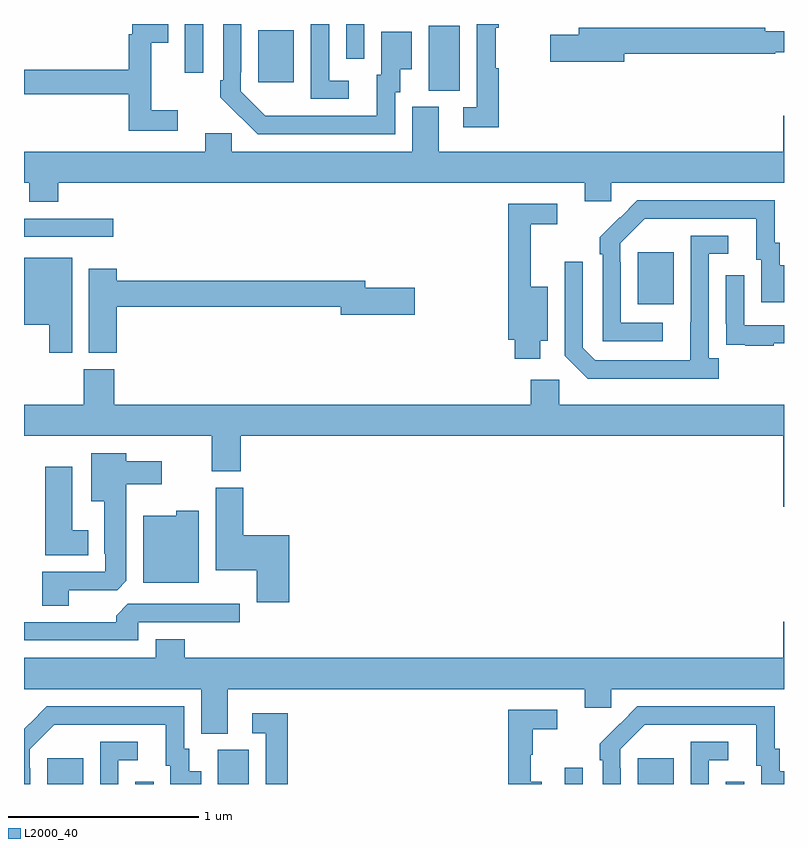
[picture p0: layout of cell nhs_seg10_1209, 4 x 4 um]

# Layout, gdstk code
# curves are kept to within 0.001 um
import gdstk
lib = gdstk.Library(unit=1e-6, precision=1e-09)
def R(c, l, rs):  # rectangles x0, y0, x1, y1
    for r in rs: c.add(gdstk.rectangle(r[:2], r[2:], *l))
def P(c, l, *ps):  # polygons
    for p in ps: c.add(gdstk.Polygon(p, *l))
L2000_40 = (2000, 40)

nhs_seg10_1209 = lib.new_cell('nhs_seg10_1209')
R(nhs_seg10_1209, L2000_40, [(173.123,1282.5,173.311,1282.636), (173.586,1282.5,173.682,1282.513), (174.02,1282.5,174.184,1282.68), (175.845,1282.5,175.941,1282.585), (176.231,1282.5,176.419,1282.636), (176.694,1282.5,176.79,1282.513), (176.231,1285.025,176.419,1285.3), (173,1285.38,173.47,1285.476), (175.13,1286.149,175.294,1286.492), (174.233,1286.193,174.421,1286.467), (173.847,1286.244,173.943,1286.5), (174.696,1286.316,174.792,1286.5)])
P(nhs_seg10_1209, L2000_40, [(174.954,1286.142),(174.979,1286.142),(174.979,1286.261),(175.042,1286.261),(175.042,1286.458),(174.881,1286.458),(174.881,1286.232),(174.857,1286.232),(174.857,1286.016),(174.27,1286.017),(174.141,1286.145),(174.141,1286.245),(174.144,1286.245),(174.144,1286.5),(174.048,1286.5),(174.048,1286.203),(174.033,1286.203),(174.033,1286.115),(174.23,1285.92),(174.954,1285.92)],
  [(173.809,1286.047),(173.669,1286.047),(173.669,1286.402),(173.758,1286.402),(173.758,1286.5),(173.57,1286.5),(173.57,1286.445),(173.551,1286.445),(173.551,1286.258),(173,1286.258),(173,1286.13),(173.551,1286.13),(173.551,1285.938),(173.809,1285.938)],
  [(175.499,1286.268),(175.484,1286.268),(175.484,1286.48),(175.499,1286.48),(175.499,1286.5),(175.383,1286.5),(175.383,1286.061),(175.311,1286.061),(175.311,1285.956),(175.499,1285.956)],
  [(174.709,1286.202),(174.606,1286.202),(174.606,1286.5),(174.51,1286.5),(174.51,1286.106),(174.709,1286.106)],
  [(176.158,1286.344),(176.954,1286.344),(176.954,1286.352),(177,1286.352),(177,1286.461),(176.9,1286.461),(176.9,1286.48),(175.919,1286.48),(175.919,1286.444),(175.77,1286.444),(175.77,1286.302),(176.158,1286.302)],
  [(173.18,1285.664),(175.952,1285.664),(175.952,1285.566),(176.091,1285.566),(176.091,1285.664),(177,1285.664),(177,1286.017),(176.996,1286.017),(176.996,1285.828),(175.183,1285.828),(175.183,1286.064),(175.043,1286.064),(175.043,1285.828),(174.093,1285.828),(174.093,1285.926),(173.954,1285.926),(173.954,1285.828),(173,1285.828),(173,1285.664),(173.027,1285.664),(173.027,1285.565),(173.18,1285.565)],
  [(176.362,1284.927),(176.142,1284.927),(176.142,1285.247),(176.139,1285.247),(176.139,1285.347),(176.268,1285.476),(176.855,1285.476),(176.855,1285.26),(176.879,1285.26),(176.879,1285.035),(177,1285.035),(177,1285.231),(176.977,1285.231),(176.977,1285.35),(176.952,1285.35),(176.952,1285.572),(176.228,1285.572),(176.031,1285.377),(176.031,1285.289),(176.046,1285.289),(176.046,1284.831),(176.362,1284.831)],
  [(175.717,1284.833),(175.756,1284.833),(175.756,1285.117),(175.667,1285.117),(175.667,1285.446),(175.807,1285.446),(175.807,1285.554),(175.549,1285.554),(175.549,1284.837),(175.583,1284.837),(175.583,1284.737),(175.717,1284.737)],
  [(176.656,1284.742),(176.604,1284.742),(176.604,1285.29),(176.707,1285.29),(176.707,1285.386),(176.508,1285.386),(176.507,1284.729),(176.007,1284.729),(175.941,1284.795),(175.941,1285.249),(175.845,1285.249),(175.845,1284.753),(175.966,1284.632),(176.656,1284.632)],
  [(173.254,1285.27),(173,1285.27),(173,1284.917),(173.132,1284.917),(173.132,1284.771),(173.254,1284.771)],
  [(173.489,1285.012),(174.668,1285.012),(174.668,1284.97),(175.057,1284.97),(175.057,1285.112),(174.796,1285.112),(174.796,1285.148),(173.489,1285.148),(173.489,1285.213),(173.342,1285.213),(173.342,1284.769),(173.489,1284.769)],
  [(176.945,1284.819),(177,1284.819),(177,1284.915),(176.79,1284.915),(176.79,1285.177),(176.694,1285.177),(176.694,1284.922),(176.695,1284.922),(176.695,1284.813),(176.797,1284.813),(176.797,1284.807),(176.945,1284.807)],
  [(177,1284.496),(175.818,1284.496),(175.818,1284.628),(175.667,1284.628),(175.667,1284.496),(173.474,1284.496),(173.474,1284.684),(173.314,1284.684),(173.314,1284.496),(173,1284.496),(173,1284.332),(173.987,1284.332),(173.987,1284.145),(174.14,1284.145),(174.14,1284.332),(176.996,1284.332),(176.996,1283.958),(177,1283.958)],
  [(173.236,1283.52),(173.49,1283.52),(173.539,1283.569),(173.539,1284.077),(173.725,1284.077),(173.725,1284.199),(173.539,1284.199),(173.539,1284.241),(173.354,1284.241),(173.354,1283.987),(173.423,1283.987),(173.423,1283.713),(173.427,1283.713),(173.427,1283.616),(173.096,1283.616),(173.096,1283.437),(173.236,1283.437)],
  [(173.338,1283.836),(173.254,1283.836),(173.254,1284.169),(173.111,1284.169),(173.111,1283.705),(173.338,1283.705)],
  [(174.395,1283.809),(174.155,1283.809),(174.155,1284.06),(174.008,1284.06),(174.008,1283.624),(174.224,1283.624),(174.224,1283.457),(174.395,1283.457)],
  [(173.92,1283.938),(173.802,1283.938),(173.802,1283.911),(173.627,1283.911),(173.627,1283.558),(173.92,1283.558)],
  [(173.601,1283.352),(174.136,1283.352),(174.136,1283.448),(173.547,1283.448),(173.486,1283.386),(173.486,1283.352),(173,1283.352),(173,1283.256),(173.601,1283.256)],
  [(173.693,1283.263),(173.693,1283.164),(173,1283.164),(173,1283),(173.933,1283),(173.933,1282.765),(174.073,1282.765),(174.073,1283),(175.952,1283),(175.952,1282.902),(176.091,1282.902),(176.091,1283),(177,1283),(177,1283.353),(176.996,1283.353),(176.996,1283.164),(173.846,1283.164),(173.846,1283.263)],
  [(173.034,1282.583),(173.031,1282.583),(173.031,1282.683),(173.16,1282.812),(173.747,1282.812),(173.747,1282.596),(173.771,1282.596),(173.771,1282.5),(173.932,1282.5),(173.932,1282.567),(173.869,1282.567),(173.869,1282.686),(173.844,1282.686),(173.844,1282.908),(173.12,1282.908),(173.029,1282.817),(173.028,1282.818),(173,1282.79),(173,1282.5),(173.034,1282.5)],
  [(176.142,1282.583),(176.139,1282.583),(176.139,1282.683),(176.268,1282.812),(176.855,1282.812),(176.855,1282.596),(176.879,1282.596),(176.879,1282.5),(177,1282.5),(177,1282.567),(176.977,1282.567),(176.977,1282.686),(176.952,1282.686),(176.952,1282.908),(176.228,1282.908),(176.031,1282.713),(176.031,1282.625),(176.046,1282.625),(176.046,1282.5),(176.142,1282.5)],
  [(175.726,1282.513),(175.667,1282.513),(175.667,1282.653),(175.678,1282.653),(175.678,1282.789),(175.807,1282.789),(175.807,1282.89),(175.549,1282.89),(175.549,1282.5),(175.726,1282.5)],
  [(174.389,1282.873),(174.201,1282.873),(174.201,1282.767),(174.273,1282.767),(174.273,1282.5),(174.389,1282.5)],
  [(173.496,1282.626),(173.599,1282.626),(173.599,1282.722),(173.4,1282.722),(173.4,1282.5),(173.496,1282.5)],
  [(176.604,1282.626),(176.707,1282.626),(176.707,1282.722),(176.508,1282.722),(176.508,1282.5),(176.604,1282.5)])

lib.write_gds('nhs_seg10_1209.gds')
